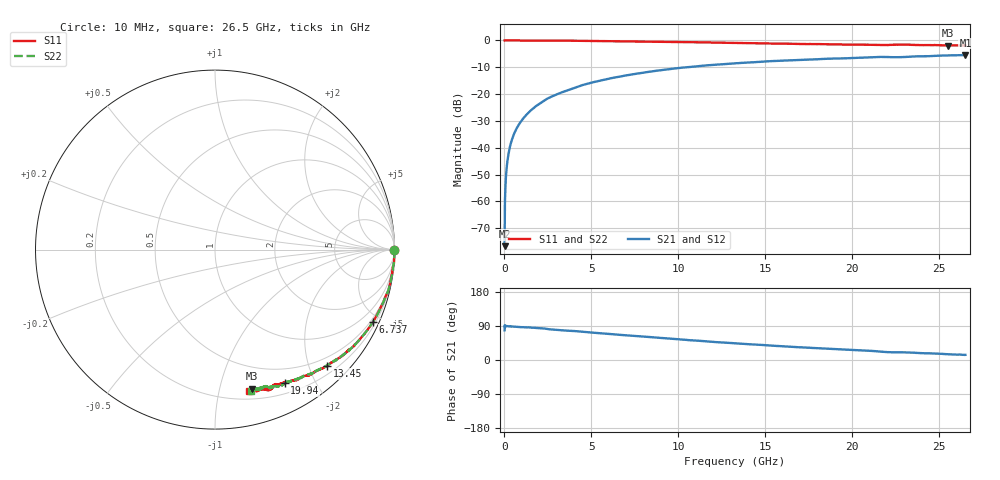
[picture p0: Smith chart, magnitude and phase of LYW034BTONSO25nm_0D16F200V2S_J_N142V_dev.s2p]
!Keysight Technologies,N5222B,MY61253708,A.15.00.15
!Date: Wednesday, June 19, 2024 10:05:16
!Correction: S11(C  2-Port  )
!S21(C  2-Port  )
!S12(C  2-Port  )
!S22(C  2-Port  )
!S2P File: Measurements: S11, S21, S12, S22:
# Hz S  RI  R 50
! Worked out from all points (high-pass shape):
!   2651 points, 10 MHz to 26.5 GHz, reference 50 ohm
!   highest |S21| = -5.41 dB at 26.5 GHz (marker M1); lowest = -76.7 dB at 10 MHz (marker M2)
!   |S21| within 3 dB of the highest: 13.56 GHz to end of sweep
!   lowest |S11| = -1.9 dB at 25.5 GHz (marker M3), VSWR 9.13, Z = 14.5 - j63.1 ohm
!   |S11| at or under -10 dB: nowhere
!   |S22| runs from -1.9 to 0.0 dB; largest |S21 - S12| = 0.006
!   S11 on the Smith chart (normalised r, x): 10 MHz: open; 6.737 GHz: 0.36, -4.58; 13.45 GHz: 0.34, -2.31; 19.94 GHz: 0.32, -1.60; 26.5 GHz: 0.27, -1.23
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1e7  0.9985 -0.00282  2.94e-05 0.000143  -0.000208 0.000489  0.9986 -0.00194
7.997358e7  1 -0.00568  7.91e-06 0.00262  3.56e-05 0.00261  0.9994 -0.00524
1.499472e8  1 -0.0107  5.04e-05 0.0049  3.83e-05 0.00492  0.9996 -0.0101
1.799358e8  1 -0.0119  7.15e-05 0.0059  6.92e-05 0.00595  0.9996 -0.0114
2.29917e8  0.9997 -0.0157  0.000122 0.00755  0.000114 0.00759  0.9994 -0.0149
3.19883e8  0.9997 -0.0213  0.000207 0.0105  0.00023 0.0106  0.9995 -0.0203
4.49834e8  0.999 -0.0303  0.000418 0.0147  0.000432 0.0148  0.999 -0.0295
5.997774e8  0.9987 -0.0394  0.000743 0.0196  0.000767 0.0197  0.999 -0.0391
7.897057e8  0.9983 -0.0521  0.00132 0.0257  0.00134 0.0259  0.9978 -0.0517
1.429464e9  0.9908 -0.0955  0.00322 0.0466  0.00328 0.0467  0.9936 -0.0926
2.309132e9  0.9831 -0.1489  0.00943 0.0761  0.00963 0.0765  0.9841 -0.1497
3.208792e9  0.9719 -0.2056  0.0207 0.1029  0.0208 0.1034  0.9716 -0.2051
4.428332e9  0.9439 -0.2782  0.0376 0.1402  0.0379 0.1409  0.9453 -0.2757
6.73746e9  0.8807 -0.4016  0.0876 0.1969  0.0886 0.1975  0.8817 -0.4013
8.846664e9  0.8068 -0.4991  0.1427 0.2353  0.144 0.2356  0.8078 -0.4981
1.3255e10  0.6326 -0.6402  0.269 0.2605  0.2708 0.26  0.6355 -0.639
1.345492e10  0.6247 -0.6477  0.2746 0.2606  0.2764 0.2592  0.6254 -0.6442
1.767333e10  0.462 -0.7213  0.3753 0.234  0.3781 0.2321  0.4709 -0.7189
1.994248e10  0.3879 -0.7437  0.4196 0.21  0.4213 0.2076  0.4005 -0.7398
2.209166e10  0.3267 -0.756  0.4585 0.1729  0.4597 0.1697  0.3192 -0.7616
2.550038e10  0.2074 -0.7753  0.5082 0.137  0.5091 0.1362  0.2266 -0.777
2.65e10  0.1876 -0.789  0.5216 0.1256  0.5207 0.1218  0.2002 -0.7867
